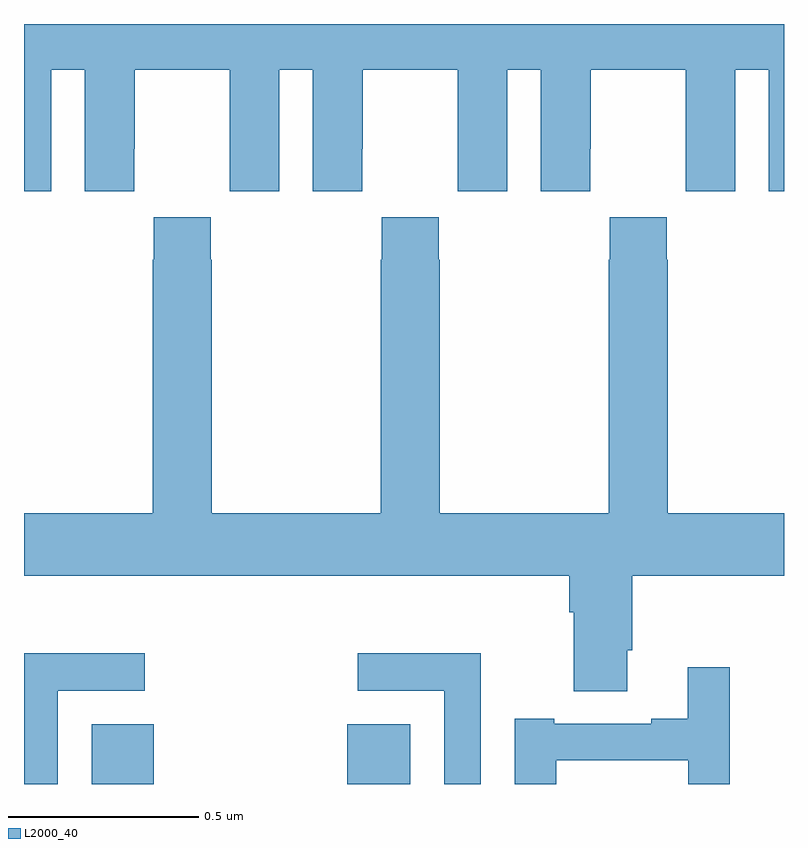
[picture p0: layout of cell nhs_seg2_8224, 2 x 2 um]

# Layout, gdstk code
import gdstk
lib = gdstk.Library(unit=1e-6, precision=1e-09)
def R(c, l, rs):  # rectangles x0, y0, x1, y1
    for r in rs: c.add(gdstk.rectangle(r[:2], r[2:], *l))
def P(c, l, *ps):  # polygons
    for p in ps: c.add(gdstk.Polygon(p, *l))
L2000_40 = (2000, 40)

nhs_seg2_8224 = lib.new_cell('nhs_seg2_8224')
R(nhs_seg2_8224, L2000_40, [(214.178,601.8,214.342,601.957), (214.85,601.8,215.017,601.957)])
P(nhs_seg2_8224, L2000_40, [(214.072,603.68),(214.16,603.68),(214.16,603.36),(214.29,603.36),(214.29,603.472),(214.291,603.472),(214.291,603.68),(214.541,603.68),(214.541,603.472),(214.542,603.472),(214.542,603.36),(214.672,603.36),(214.672,603.68),(214.76,603.68),(214.76,603.36),(214.89,603.36),(214.89,603.472),(214.891,603.472),(214.891,603.68),(215.141,603.68),(215.141,603.472),(215.142,603.472),(215.142,603.36),(215.272,603.36),(215.272,603.68),(215.36,603.68),(215.36,603.36),(215.49,603.36),(215.49,603.472),(215.491,603.472),(215.491,603.68),(215.741,603.68),(215.741,603.472),(215.742,603.472),(215.742,603.36),(215.872,603.36),(215.872,603.68),(215.96,603.68),(215.96,603.36),(216,603.36),(216,603.8),(214,603.8),(214,603.36),(214.072,603.36)],
  [(215.587,602.152),(215.6,602.152),(215.6,602.348),(216,602.348),(216,602.512),(215.694,602.512),(215.694,603.179),(215.691,603.179),(215.691,603.292),(215.541,603.292),(215.541,603.179),(215.539,603.179),(215.539,602.512),(215.094,602.512),(215.094,603.179),(215.091,603.179),(215.091,603.292),(214.941,603.292),(214.941,603.179),(214.939,603.179),(214.939,602.512),(214.494,602.512),(214.494,603.179),(214.491,603.179),(214.491,603.292),(214.341,603.292),(214.341,603.179),(214.339,603.179),(214.339,602.512),(214,602.512),(214,602.348),(215.435,602.348),(215.435,602.252),(215.447,602.252),(215.447,602.044),(215.587,602.044)],
  [(214.089,602.046),(214.318,602.046),(214.318,602.144),(214.001,602.144),(214,602.143),(214,601.8),(214.089,601.8)],
  [(215.202,602.144),(214.878,602.144),(214.878,602.046),(215.106,602.046),(215.106,601.8),(215.202,601.8)],
  [(215.401,601.863),(215.748,601.863),(215.748,601.8),(215.857,601.8),(215.857,602.107),(215.747,602.107),(215.747,601.972),(215.651,601.972),(215.651,601.959),(215.395,601.959),(215.395,601.972),(215.291,601.972),(215.291,601.8),(215.401,601.8)])

lib.write_gds('nhs_seg2_8224.gds')
